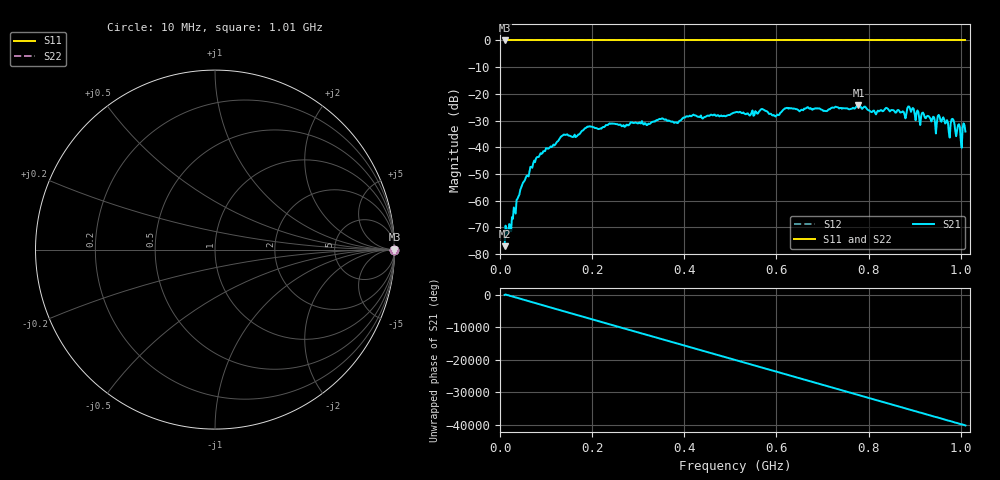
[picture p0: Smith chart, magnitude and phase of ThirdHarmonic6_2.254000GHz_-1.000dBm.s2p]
! 8/17/2025 2:44:05 AM
! C:\ANRITSUVNA\TEMP\TEMP.S2P
! CHANNEL.1
! TR.MEASUREMENT
! RAW.DATA
! RF.CORRECTION.OFF
! AVERAGING.OFF
! IF.BANDWIDTH: 5KHZ
! SWEEPTYPE:  FREQ.SWEEP(Linear)
! Reference Plane Port Info
! PORT:  PORT1  PORT2
! DISTANCE:  0  m  0  m
! TIME:  0  s  0  s
! PHASE.OFFSET:  0  deg.  0  deg.
! LOSS:  0  dB  0  dB
! REF.LOSS:  0  dB  0  dB
! REF.FREQ:  0  Hz  0  Hz
! Power Info
! POWER:  -20  dBm  -20  dBm
! EFF.POWER:  -20  dBm  -20  dBm
! SOURCE.ATTEN:  0  dB  0  dB
! TEST.ATTEN:  0  dB  0  dB
# GHZ S RI R 50.0
! FREQ.GHZ  S11RE  S11IM  S21RE  S21IM  S12RE  S12IM  S22RE  S22IM
!; PortSelection: Port_12
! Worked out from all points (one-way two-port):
!   501 points, 10 MHz to 1.01 GHz, reference 50 ohm
!   highest |S21| = -24.10 dB at 778 MHz (marker M1); lowest = -77.0 dB at 10 MHz (marker M2)
!   lowest |S11| = 0.0 dB at 10 MHz (marker M3)
!   |S11| at or under -10 dB: nowhere
!   |S22| runs from 0.0 to 0.0 dB; largest |S21 - S12| = 1.1
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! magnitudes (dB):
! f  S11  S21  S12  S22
! 10 MHz  0.0  -77.0  0.0  0.0
! 20 MHz  0.0  -68.7  0.0  0.0
! 48 MHz  0.0  -54.1  0.0  0.0
! 78 MHz  0.0  -44.2  0.0  0.0
! 136 MHz  0.0  -35.6  0.0  0.0
! 178 MHz  0.0  -33.8  0.0  0.0
! 344 MHz  0.0  -29.6  0.0  0.0
! 510 MHz  0.0  -26.9  0.0  0.0
! 570 MHz  0.0  -25.7  0.0  0.0
! 596 MHz  0.0  -28.2  0.0  0.0
! 620 MHz  0.0  -25.4  0.0  0.0
! 678 MHz  0.0  -26.0  0.0  0.0
! 778 MHz  0.0  -24.1  0.0  0.0
! 844 MHz  0.0  -26.1  0.0  0.0
! 878 MHz  0.0  -27.8  0.0  0.0
! 890 MHz  0.0  -25.6  0.0  0.0
! 944 MHz  0.0  -30.5  0.0  0.0
! 966 MHz  0.0  -31.1  0.0  0.0
! 972 MHz  0.0  -30.5  0.0  0.0
! 982 MHz  0.0  -29.3  0.0  0.0
! 1 GHz  0.0  -37.4  0.0  0.0
! 1.01 GHz  0.0  -34.1  0.0  0.0
